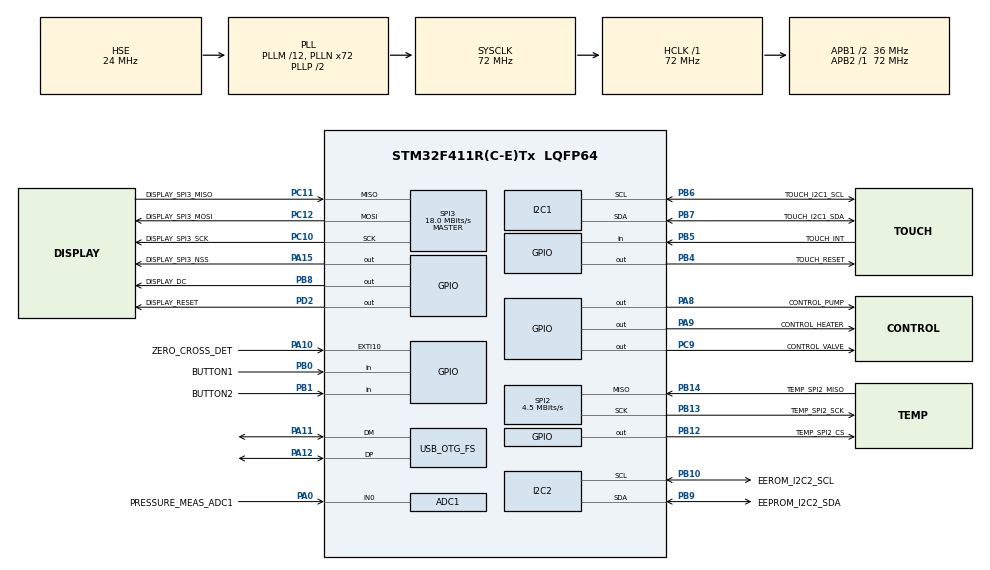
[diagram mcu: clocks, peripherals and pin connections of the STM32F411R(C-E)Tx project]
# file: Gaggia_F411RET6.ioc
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ADC1.Channel-0\#ChannelRegularConversion=ADC_CHANNEL_0
ADC1.NbrOfConversionFlag=1
ADC1.Rank-0\#ChannelRegularConversion=1
ADC1.SamplingTime-0\#ChannelRegularConversion=ADC_SAMPLETIME_3CYCLES
ADC1.master=1
Mcu.Family=STM32F4
Mcu.Name=STM32F411R(C-E)Tx
Mcu.Package=LQFP64
NVIC.PriorityGroup=NVIC_PRIORITYGROUP_4
NVIC.TIM1_TRG_COM_TIM11_IRQn=true\:0\:0\:false\:false\:true\:true\:true\:true
NVIC.TIM1_UP_TIM10_IRQn=true\:0\:0\:false\:false\:true\:true\:true\:true
NVIC.TIM2_IRQn=true\:0\:0\:false\:false\:true\:true\:true\:true
PA0-WKUP.GPIO_Label=PRESSURE_MEAS_ADC1
PA0-WKUP.Signal=ADCx_IN0
PA10.GPIO_Label=ZERO_CROSS_DET
PA10.GPIO_ModeDefaultEXTI=GPIO_MODE_IT_FALLING
PA10.GPIO_PuPd=GPIO_PULLDOWN
PA10.Signal=GPXTI10
PA11.Mode=Device_Only
PA11.Signal=USB_OTG_FS_DM
PA12.Mode=Device_Only
PA12.Signal=USB_OTG_FS_DP
PA13.Mode=Trace_Asynchronous_SW
PA13.Signal=SYS_JTMS-SWDIO
PA14.Mode=Trace_Asynchronous_SW
PA14.Signal=SYS_JTCK-SWCLK
PA15.GPIO_Label=DISPLAY_SPI3_NSS
PA15.Signal=GPIO_Output
PA8.GPIO_Label=CONTROL_PUMP
PA8.Signal=GPIO_Output
PA9.GPIO_Label=CONTROL_HEATER
PA9.Signal=GPIO_Output
PB0.GPIO_Label=BUTTON1
PB0.Signal=GPIO_Input
PB1.GPIO_Label=BUTTON2
PB1.Signal=GPIO_Input
PB10.GPIO_Label=EEROM_I2C2_SCL
PB10.Mode=I2C
PB10.Signal=I2C2_SCL
PB12.GPIO_Label=TEMP_SPI2_CS
PB12.Signal=GPIO_Output
PB13.GPIO_Label=TEMP_SPI2_SCK
PB13.Mode=RX_Only_Simplex_Unidirect_Master
PB13.Signal=SPI2_SCK
PB14.GPIO_Label=TEMP_SPI2_MISO
PB14.Mode=RX_Only_Simplex_Unidirect_Master
PB14.Signal=SPI2_MISO
PB3.Mode=Trace_Asynchronous_SW
PB3.Signal=SYS_JTDO-SWO
PB4.GPIO_Label=TOUCH_RESET
PB4.Signal=GPIO_Output
PB5.GPIO_Label=TOUCH_INT
PB5.Signal=GPIO_Input
PB6.GPIO_Label=TOUCH_I2C1_SCL
PB6.Mode=I2C
PB6.Signal=I2C1_SCL
PB7.GPIO_Label=TOUCH_I2C1_SDA
PB7.Mode=I2C
PB7.Signal=I2C1_SDA
PB8.GPIO_Label=DISPLAY_DC
PB8.Signal=GPIO_Output
PB9.GPIO_Label=EEPROM_I2C2_SDA
PB9.Mode=I2C
PB9.Signal=I2C2_SDA
PC10.GPIO_Label=DISPLAY_SPI3_SCK
PC10.Mode=Full_Duplex_Master
PC10.Signal=SPI3_SCK
PC11.GPIO_Label=DISPLAY_SPI3_MISO
PC11.Mode=Full_Duplex_Master
PC11.Signal=SPI3_MISO
PC12.GPIO_Label=DISPLAY_SPI3_MOSI
PC12.Mode=Full_Duplex_Master
PC12.Signal=SPI3_MOSI
PC9.GPIO_Label=CONTROL_VALVE
PC9.Signal=GPIO_Output
PD2.GPIO_Label=DISPLAY_RESET
PD2.Signal=GPIO_Output
PH0\ -\ OSC_IN.Mode=HSE-External-Oscillator
PH0\ -\ OSC_IN.Signal=RCC_OSC_IN
PH1\ -\ OSC_OUT.Mode=HSE-External-Oscillator
PH1\ -\ OSC_OUT.Signal=RCC_OSC_OUT
ProjectManager.HeapSize=0x200
ProjectManager.StackSize=0x400
ProjectManager.TargetToolchain=STM32CubeIDE
RCC.48MHZClocksFreq_Value=48000000
RCC.AHBFreq_Value=72000000
RCC.APB1CLKDivider=RCC_HCLK_DIV2
RCC.APB1Freq_Value=36000000
RCC.APB1TimFreq_Value=72000000
RCC.APB2Freq_Value=72000000
RCC.APB2TimFreq_Value=72000000
RCC.CortexFreq_Value=72000000
RCC.HCLKFreq_Value=72000000
RCC.HSE_VALUE=24000000
RCC.HSI_VALUE=16000000
RCC.LSE_VALUE=32768
RCC.PLLM=12
RCC.PLLN=72
RCC.PLLQ=3
RCC.SYSCLKFreq_VALUE=72000000
RCC.SYSCLKSource=RCC_SYSCLKSOURCE_PLLCLK
RCC.VCOOutputFreq_Value=144000000
SH.ADCx_IN0.0=ADC1_IN0,IN0
SPI2.BaudRatePrescaler=SPI_BAUDRATEPRESCALER_8
SPI2.CalculateBaudRate=4.5 MBits/s
SPI2.Direction=SPI_DIRECTION_2LINES_RXONLY
SPI2.Mode=SPI_MODE_MASTER
SPI2.VirtualType=VM_MASTER
SPI3.CalculateBaudRate=18.0 MBits/s
SPI3.Direction=SPI_DIRECTION_2LINES
SPI3.Mode=SPI_MODE_MASTER
SPI3.VirtualType=VM_MASTER
STMicroelectronics.X-CUBE-TOUCHGFX.4.22.1.ApplicationCcGraphicsJjApplication=TouchGFXOoGenerator
STMicroelectronics.X-CUBE-TOUCHGFX.4.22.1.tgfx_buffering_strategy=Partial
STMicroelectronics.X-CUBE-TOUCHGFX.4.22.1.tgfx_custom_height=240
STMicroelectronics.X-CUBE-TOUCHGFX.4.22.1.tgfx_custom_width=320
STMicroelectronics.X-CUBE-TOUCHGFX.4.22.1_IsPackSelfContextualization=true
TIM1.Period=7200
TIM1.Prescaler=50-1
TIM10.Prescaler=14-1
TIM11.Period=2500
TIM11.Prescaler=7200-1
TIM2.Period=7200-1
TIM2.Prescaler=500
USB_OTG_FS.VirtualMode=Device_Only
VP_CRC_VS_CRC.Mode=CRC_Activate
VP_STMicroelectronics.X-CUBE-TOUCHGFX_VS_GraphicsJjApplication_4.22.1.Mode=GraphicsJjApplication
VP_TIM10_VS_ClockSourceINT.Mode=Enable_Timer
VP_TIM11_VS_ClockSourceINT.Mode=Enable_Timer
VP_TIM1_VS_ClockSourceINT.Mode=Internal
VP_TIM2_VS_ClockSourceINT.Mode=Internal
board=custom

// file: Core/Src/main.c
/* USER CODE BEGIN Header */
/**
  ******************************************************************************
  * @file           : main.c
  * @brief          : Main program body
  ******************************************************************************
  * @attention
  *
  * Copyright (c) 2023 STMicroelectronics.
  * All rights reserved.
  *
  * This software is licensed under terms that can be found in the LICENSE file
  * in the root directory of this software component.
  * If no LICENSE file comes with this software, it is provided AS-IS.
  *
  ******************************************************************************
  */
/* USER CODE END Header */
#include "main.h"
#include "app_touchgfx.h"

ADC_HandleTypeDef hadc1;

CRC_HandleTypeDef hcrc;

I2C_HandleTypeDef hi2c1;
I2C_HandleTypeDef hi2c2;

SPI_HandleTypeDef hspi2;
SPI_HandleTypeDef hspi3;

TIM_HandleTypeDef htim1;
TIM_HandleTypeDef htim2;
TIM_HandleTypeDef htim10;
TIM_HandleTypeDef htim11;

PCD_HandleTypeDef hpcd_USB_OTG_FS;

void SystemClock_Config(void);
static void MX_GPIO_Init(void);
static void MX_ADC1_Init(void);
static void MX_I2C1_Init(void);
static void MX_SPI2_Init(void);
static void MX_SPI3_Init(void);
static void MX_USB_OTG_FS_PCD_Init(void);
static void MX_I2C2_Init(void);
static void MX_CRC_Init(void);
static void MX_TIM1_Init(void);
static void MX_TIM2_Init(void);
static void MX_TIM10_Init(void);
static void MX_TIM11_Init(void);
/* USER CODE BEGIN PFP */
//C to C++ wrappers:
void mainInit();
void mainLoop();
void zeroCrossCallback();
void timer1Callback();
void timer2Callback();
void timer16Callback();
void timer17Callback();
void touchgfxSignalVSync();
/* USER CODE END PFP */

int main(void)
{

  /* MCU Configuration--------------------------------------------------------*/

  /* Reset of all peripherals, Initializes the Flash interface and the Systick. */
  HAL_Init();

  /* Configure the system clock */
  SystemClock_Config();

  /* USER CODE BEGIN SysInit */
  __HAL_RCC_DMA1_CLK_ENABLE();	//CubeMX bugfix
  /* USER CODE END SysInit */

  /* Initialize all configured peripherals */
  MX_GPIO_Init();
  MX_ADC1_Init();
  MX_I2C1_Init();
  MX_SPI2_Init();
  MX_SPI3_Init();
  MX_USB_OTG_FS_PCD_Init();
  MX_I2C2_Init();
  MX_CRC_Init();
  MX_TIM1_Init();
  MX_TIM2_Init();
  MX_TIM10_Init();
  MX_TIM11_Init();
  MX_TouchGFX_Init();
  /* USER CODE BEGIN 2 */

  HAL_TIM_Base_Start_IT(&htim2);
  HAL_TIM_Base_Start_IT(&htim11);

  mainInit();
  /* USER CODE END 2 */

  /* Infinite loop */
  /* USER CODE BEGIN WHILE */
  while (1)
  {
	  mainLoop();
    /* USER CODE END WHILE */

  MX_TouchGFX_Process();
  }
}

void SystemClock_Config(void)
{
  RCC_OscInitTypeDef RCC_OscInitStruct = {0};
  RCC_ClkInitTypeDef RCC_ClkInitStruct = {0};

  /** Configure the main internal regulator output voltage
  */
  __HAL_RCC_PWR_CLK_ENABLE();
  __HAL_PWR_VOLTAGESCALING_CONFIG(PWR_REGULATOR_VOLTAGE_SCALE1);

  /** Initializes the RCC Oscillators according to the specified parameters
  * in the RCC_OscInitTypeDef structure.
  */
  RCC_OscInitStruct.OscillatorType = RCC_OSCILLATORTYPE_HSE;
  RCC_OscInitStruct.HSEState = RCC_HSE_ON;
  RCC_OscInitStruct.PLL.PLLState = RCC_PLL_ON;
  RCC_OscInitStruct.PLL.PLLSource = RCC_PLLSOURCE_HSE;
  RCC_OscInitStruct.PLL.PLLM = 12;
  RCC_OscInitStruct.PLL.PLLN = 72;
  RCC_OscInitStruct.PLL.PLLP = RCC_PLLP_DIV2;
  RCC_OscInitStruct.PLL.PLLQ = 3;
  if (HAL_RCC_OscConfig(&RCC_OscInitStruct) != HAL_OK)
  {
    Error_Handler();
  }

  /** Initializes the CPU, AHB and APB buses clocks
  */
  RCC_ClkInitStruct.ClockType = RCC_CLOCKTYPE_HCLK|RCC_CLOCKTYPE_SYSCLK
                              |RCC_CLOCKTYPE_PCLK1|RCC_CLOCKTYPE_PCLK2;
  RCC_ClkInitStruct.SYSCLKSource = RCC_SYSCLKSOURCE_PLLCLK;
  RCC_ClkInitStruct.AHBCLKDivider = RCC_SYSCLK_DIV1;
  RCC_ClkInitStruct.APB1CLKDivider = RCC_HCLK_DIV2;
  RCC_ClkInitStruct.APB2CLKDivider = RCC_HCLK_DIV1;

  if (HAL_RCC_ClockConfig(&RCC_ClkInitStruct, FLASH_LATENCY_2) != HAL_OK)
  {
    Error_Handler();
  }
}

static void MX_ADC1_Init(void)
{

  ADC_ChannelConfTypeDef sConfig = {0};

  /** Configure the global features of the ADC (Clock, Resolution, Data Alignment and number of conversion)
  */
  hadc1.Instance = ADC1;
  hadc1.Init.ClockPrescaler = ADC_CLOCK_SYNC_PCLK_DIV2;
  hadc1.Init.Resolution = ADC_RESOLUTION_12B;
  hadc1.Init.ScanConvMode = DISABLE;
  hadc1.Init.ContinuousConvMode = DISABLE;
  hadc1.Init.DiscontinuousConvMode = DISABLE;
  hadc1.Init.ExternalTrigConvEdge = ADC_EXTERNALTRIGCONVEDGE_NONE;
  hadc1.Init.ExternalTrigConv = ADC_SOFTWARE_START;
  hadc1.Init.DataAlign = ADC_DATAALIGN_RIGHT;
  hadc1.Init.NbrOfConversion = 1;
  hadc1.Init.DMAContinuousRequests = DISABLE;
  hadc1.Init.EOCSelection = ADC_EOC_SINGLE_CONV;
  if (HAL_ADC_Init(&hadc1) != HAL_OK)
  {
    Error_Handler();
  }

  /** Configure for the selected ADC regular channel its corresponding rank in the sequencer and its sample time.
  */
  sConfig.Channel = ADC_CHANNEL_0;
  sConfig.Rank = 1;
  sConfig.SamplingTime = ADC_SAMPLETIME_3CYCLES;
  if (HAL_ADC_ConfigChannel(&hadc1, &sConfig) != HAL_OK)
  {
    Error_Handler();
  }

}

static void MX_CRC_Init(void)
{

  hcrc.Instance = CRC;
  if (HAL_CRC_Init(&hcrc) != HAL_OK)
  {
    Error_Handler();
  }

}

static void MX_I2C1_Init(void)
{

  hi2c1.Instance = I2C1;
  hi2c1.Init.ClockSpeed = 100000;
  hi2c1.Init.DutyCycle = I2C_DUTYCYCLE_2;
  hi2c1.Init.OwnAddress1 = 0;
  hi2c1.Init.AddressingMode = I2C_ADDRESSINGMODE_7BIT;
  hi2c1.Init.DualAddressMode = I2C_DUALADDRESS_DISABLE;
  hi2c1.Init.OwnAddress2 = 0;
  hi2c1.Init.GeneralCallMode = I2C_GENERALCALL_DISABLE;
  hi2c1.Init.NoStretchMode = I2C_NOSTRETCH_DISABLE;
  if (HAL_I2C_Init(&hi2c1) != HAL_OK)
  {
    Error_Handler();
  }

}

static void MX_I2C2_Init(void)
{

  hi2c2.Instance = I2C2;
  hi2c2.Init.ClockSpeed = 100000;
  hi2c2.Init.DutyCycle = I2C_DUTYCYCLE_2;
  hi2c2.Init.OwnAddress1 = 0;
  hi2c2.Init.AddressingMode = I2C_ADDRESSINGMODE_7BIT;
  hi2c2.Init.DualAddressMode = I2C_DUALADDRESS_DISABLE;
  hi2c2.Init.OwnAddress2 = 0;
  hi2c2.Init.GeneralCallMode = I2C_GENERALCALL_DISABLE;
  hi2c2.Init.NoStretchMode = I2C_NOSTRETCH_DISABLE;
  if (HAL_I2C_Init(&hi2c2) != HAL_OK)
  {
    Error_Handler();
  }

}

static void MX_SPI2_Init(void)
{

  /* SPI2 parameter configuration*/
  hspi2.Instance = SPI2;
  hspi2.Init.Mode = SPI_MODE_MASTER;
  hspi2.Init.Direction = SPI_DIRECTION_2LINES_RXONLY;
  hspi2.Init.DataSize = SPI_DATASIZE_8BIT;
  hspi2.Init.CLKPolarity = SPI_POLARITY_LOW;
  hspi2.Init.CLKPhase = SPI_PHASE_1EDGE;
  hspi2.Init.NSS = SPI_NSS_SOFT;
  hspi2.Init.BaudRatePrescaler = SPI_BAUDRATEPRESCALER_8;
  hspi2.Init.FirstBit = SPI_FIRSTBIT_MSB;
  hspi2.Init.TIMode = SPI_TIMODE_DISABLE;
  hspi2.Init.CRCCalculation = SPI_CRCCALCULATION_DISABLE;
  hspi2.Init.CRCPolynomial = 10;
  if (HAL_SPI_Init(&hspi2) != HAL_OK)
  {
    Error_Handler();
  }

}

static void MX_SPI3_Init(void)
{

  /* SPI3 parameter configuration*/
  hspi3.Instance = SPI3;
  hspi3.Init.Mode = SPI_MODE_MASTER;
  hspi3.Init.Direction = SPI_DIRECTION_2LINES;
  hspi3.Init.DataSize = SPI_DATASIZE_8BIT;
  hspi3.Init.CLKPolarity = SPI_POLARITY_LOW;
  hspi3.Init.CLKPhase = SPI_PHASE_1EDGE;
  hspi3.Init.NSS = SPI_NSS_SOFT;
  hspi3.Init.BaudRatePrescaler = SPI_BAUDRATEPRESCALER_2;
  hspi3.Init.FirstBit = SPI_FIRSTBIT_MSB;
  hspi3.Init.TIMode = SPI_TIMODE_DISABLE;
  hspi3.Init.CRCCalculation = SPI_CRCCALCULATION_DISABLE;
  hspi3.Init.CRCPolynomial = 10;
  if (HAL_SPI_Init(&hspi3) != HAL_OK)
  {
    Error_Handler();
  }

}

static void MX_TIM1_Init(void)
{

  TIM_ClockConfigTypeDef sClockSourceConfig = {0};
  TIM_MasterConfigTypeDef sMasterConfig = {0};

  htim1.Instance = TIM1;
  htim1.Init.Prescaler = 50-1;
  htim1.Init.CounterMode = TIM_COUNTERMODE_UP;
  htim1.Init.Period = 7200;
  htim1.Init.ClockDivision = TIM_CLOCKDIVISION_DIV1;
  htim1.Init.RepetitionCounter = 0;
  htim1.Init.AutoReloadPreload = TIM_AUTORELOAD_PRELOAD_DISABLE;
  if (HAL_TIM_Base_Init(&htim1) != HAL_OK)
  {
    Error_Handler();
  }
  sClockSourceConfig.ClockSource = TIM_CLOCKSOURCE_INTERNAL;
  if (HAL_TIM_ConfigClockSource(&htim1, &sClockSourceConfig) != HAL_OK)
  {
    Error_Handler();
  }
  sMasterConfig.MasterOutputTrigger = TIM_TRGO_RESET;
  sMasterConfig.MasterSlaveMode = TIM_MASTERSLAVEMODE_DISABLE;
  if (HAL_TIMEx_MasterConfigSynchronization(&htim1, &sMasterConfig) != HAL_OK)
  {
    Error_Handler();
  }

}

static void MX_TIM2_Init(void)
{

  TIM_ClockConfigTypeDef sClockSourceConfig = {0};
  TIM_MasterConfigTypeDef sMasterConfig = {0};

  htim2.Instance = TIM2;
  htim2.Init.Prescaler = 500;
  htim2.Init.CounterMode = TIM_COUNTERMODE_UP;
  htim2.Init.Period = 7200-1;
  htim2.Init.ClockDivision = TIM_CLOCKDIVISION_DIV1;
  htim2.Init.AutoReloadPreload = TIM_AUTORELOAD_PRELOAD_DISABLE;
  if (HAL_TIM_Base_Init(&htim2) != HAL_OK)
  {
    Error_Handler();
  }
  sClockSourceConfig.ClockSource = TIM_CLOCKSOURCE_INTERNAL;
  if (HAL_TIM_ConfigClockSource(&htim2, &sClockSourceConfig) != HAL_OK)
  {
    Error_Handler();
  }
  sMasterConfig.MasterOutputTrigger = TIM_TRGO_RESET;
  sMasterConfig.MasterSlaveMode = TIM_MASTERSLAVEMODE_DISABLE;
  if (HAL_TIMEx_MasterConfigSynchronization(&htim2, &sMasterConfig) != HAL_OK)
  {
    Error_Handler();
  }

}

static void MX_TIM10_Init(void)
{

  htim10.Instance = TIM10;
  htim10.Init.Prescaler = 14-1;
  htim10.Init.CounterMode = TIM_COUNTERMODE_UP;
  htim10.Init.Period = 65535;
  htim10.Init.ClockDivision = TIM_CLOCKDIVISION_DIV1;
  htim10.Init.AutoReloadPreload = TIM_AUTORELOAD_PRELOAD_DISABLE;
  if (HAL_TIM_Base_Init(&htim10) != HAL_OK)
  {
    Error_Handler();
  }

}

static void MX_TIM11_Init(void)
{

  htim11.Instance = TIM11;
  htim11.Init.Prescaler = 7200-1;
  htim11.Init.CounterMode = TIM_COUNTERMODE_UP;
  htim11.Init.Period = 2500;
  htim11.Init.ClockDivision = TIM_CLOCKDIVISION_DIV1;
  htim11.Init.AutoReloadPreload = TIM_AUTORELOAD_PRELOAD_DISABLE;
  if (HAL_TIM_Base_Init(&htim11) != HAL_OK)
  {
    Error_Handler();
  }

}

static void MX_USB_OTG_FS_PCD_Init(void)
{

  hpcd_USB_OTG_FS.Instance = USB_OTG_FS;
  hpcd_USB_OTG_FS.Init.dev_endpoints = 4;
  hpcd_USB_OTG_FS.Init.speed = PCD_SPEED_FULL;
  hpcd_USB_OTG_FS.Init.dma_enable = DISABLE;
  hpcd_USB_OTG_FS.Init.phy_itface = PCD_PHY_EMBEDDED;
  hpcd_USB_OTG_FS.Init.Sof_enable = DISABLE;
  hpcd_USB_OTG_FS.Init.low_power_enable = DISABLE;
  hpcd_USB_OTG_FS.Init.lpm_enable = DISABLE;
  hpcd_USB_OTG_FS.Init.vbus_sensing_enable = DISABLE;
  hpcd_USB_OTG_FS.Init.use_dedicated_ep1 = DISABLE;
  if (HAL_PCD_Init(&hpcd_USB_OTG_FS) != HAL_OK)
  {
    Error_Handler();
  }

}

static void MX_GPIO_Init(void)
{
  GPIO_InitTypeDef GPIO_InitStruct = {0};

  /* GPIO Ports Clock Enable */
  __HAL_RCC_GPIOH_CLK_ENABLE();
  __HAL_RCC_GPIOA_CLK_ENABLE();
  __HAL_RCC_GPIOB_CLK_ENABLE();
  __HAL_RCC_GPIOC_CLK_ENABLE();
  __HAL_RCC_GPIOD_CLK_ENABLE();

  /*Configure GPIO pin Output Level */
  HAL_GPIO_WritePin(GPIOB, TEMP_SPI2_CS_Pin|TOUCH_RESET_Pin|DISPLAY_DC_Pin, GPIO_PIN_RESET);

  /*Configure GPIO pin Output Level */
  HAL_GPIO_WritePin(CONTROL_VALVE_GPIO_Port, CONTROL_VALVE_Pin, GPIO_PIN_RESET);

  /*Configure GPIO pin Output Level */
  HAL_GPIO_WritePin(GPIOA, CONTROL_PUMP_Pin|CONTROL_HEATER_Pin|DISPLAY_SPI3_NSS_Pin, GPIO_PIN_RESET);

  /*Configure GPIO pin Output Level */
  HAL_GPIO_WritePin(DISPLAY_RESET_GPIO_Port, DISPLAY_RESET_Pin, GPIO_PIN_RESET);

  /*Configure GPIO pins : BUTTON1_Pin BUTTON2_Pin TOUCH_INT_Pin */
  GPIO_InitStruct.Pin = BUTTON1_Pin|BUTTON2_Pin|TOUCH_INT_Pin;
  GPIO_InitStruct.Mode = GPIO_MODE_INPUT;
  GPIO_InitStruct.Pull = GPIO_NOPULL;
  HAL_GPIO_Init(GPIOB, &GPIO_InitStruct);

  /*Configure GPIO pins : TEMP_SPI2_CS_Pin TOUCH_RESET_Pin DISPLAY_DC_Pin */
  GPIO_InitStruct.Pin = TEMP_SPI2_CS_Pin|TOUCH_RESET_Pin|DISPLAY_DC_Pin;
  GPIO_InitStruct.Mode = GPIO_MODE_OUTPUT_PP;
  GPIO_InitStruct.Pull = GPIO_NOPULL;
  GPIO_InitStruct.Speed = GPIO_SPEED_FREQ_LOW;
  HAL_GPIO_Init(GPIOB, &GPIO_InitStruct);

  /*Configure GPIO pin : CONTROL_VALVE_Pin */
  GPIO_InitStruct.Pin = CONTROL_VALVE_Pin;
  GPIO_InitStruct.Mode = GPIO_MODE_OUTPUT_PP;
  GPIO_InitStruct.Pull = GPIO_NOPULL;
  GPIO_InitStruct.Speed = GPIO_SPEED_FREQ_LOW;
  HAL_GPIO_Init(CONTROL_VALVE_GPIO_Port, &GPIO_InitStruct);

  /*Configure GPIO pins : CONTROL_PUMP_Pin CONTROL_HEATER_Pin DISPLAY_SPI3_NSS_Pin */
  GPIO_InitStruct.Pin = CONTROL_PUMP_Pin|CONTROL_HEATER_Pin|DISPLAY_SPI3_NSS_Pin;
  GPIO_InitStruct.Mode = GPIO_MODE_OUTPUT_PP;
  GPIO_InitStruct.Pull = GPIO_NOPULL;
  GPIO_InitStruct.Speed = GPIO_SPEED_FREQ_LOW;
  HAL_GPIO_Init(GPIOA, &GPIO_InitStruct);

  /*Configure GPIO pin : ZERO_CROSS_DET_Pin */
  GPIO_InitStruct.Pin = ZERO_CROSS_DET_Pin;
  GPIO_InitStruct.Mode = GPIO_MODE_IT_FALLING;
  GPIO_InitStruct.Pull = GPIO_PULLDOWN;
  HAL_GPIO_Init(ZERO_CROSS_DET_GPIO_Port, &GPIO_InitStruct);

  /*Configure GPIO pin : DISPLAY_RESET_Pin */
  GPIO_InitStruct.Pin = DISPLAY_RESET_Pin;
  GPIO_InitStruct.Mode = GPIO_MODE_OUTPUT_PP;
  GPIO_InitStruct.Pull = GPIO_NOPULL;
  GPIO_InitStruct.Speed = GPIO_SPEED_FREQ_LOW;
  HAL_GPIO_Init(DISPLAY_RESET_GPIO_Port, &GPIO_InitStruct);

}

/* USER CODE BEGIN 4 */
void HAL_TIM_PeriodElapsedCallback (TIM_HandleTypeDef * htim) {
	if(htim->Instance == TIM1) {
		timer1Callback();
	}
	if (htim->Instance == TIM2) {
		timer2Callback();
		touchgfxSignalVSync();
	}
	if (htim->Instance == TIM10) {
		timer17Callback();
	}
	if (htim->Instance == TIM11) {
		timer16Callback();
	}
}

void HAL_GPIO_EXTI_Callback(uint16_t GPIO_Pin) {
	if(GPIO_Pin == ZERO_CROSS_DET_Pin) {
		zeroCrossCallback();
	}
}
/* USER CODE END 4 */

void Error_Handler(void)
{
  __disable_irq();
  while (1)
  {
  }
}
